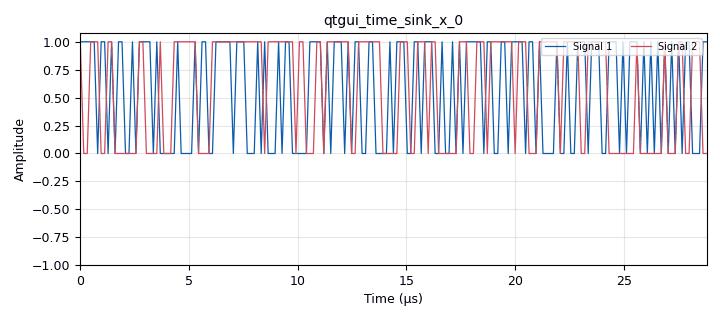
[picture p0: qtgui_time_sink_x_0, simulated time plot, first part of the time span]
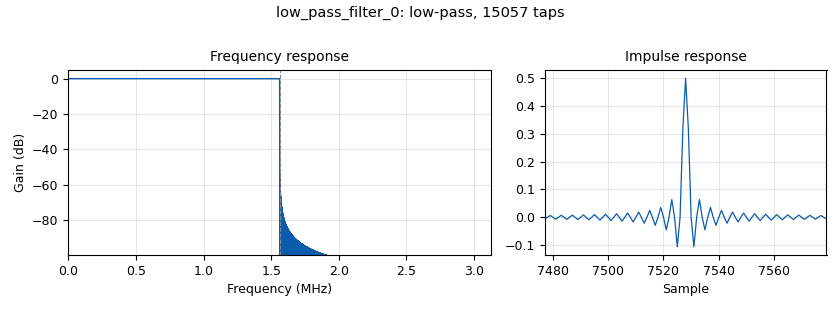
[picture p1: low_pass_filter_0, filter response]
options:
  parameters:
    author: G6_H1
    copyright: UIS
    generate_options: qt_gui
    id: BER
    output_language: python
    title: BER
  states: {}

blocks:
- name: Ac
  id: variable_qtgui_range
  parameters:
    label: Ampliud portadora
    start: '0'
    step: '0.1'
    stop: '2'
    value: '0.1'
  states: {}
- name: B
  id: variable_qtgui_range
  parameters:
    label: N0. muestras por simbolo (SPS)
    rangeType: int
    start: '1'
    step: '1'
    stop: '12'
    value: '10'
  states: {}
- name: DC
  id: variable_qtgui_range
  parameters:
    label: Nivel de señal modulante
    start: '-8'
    step: '0.1'
    stop: '8'
    value: '-1'
  states: {}
- name: 'No'
  id: variable_qtgui_range
  parameters:
    label: Amplitud ruido
    start: '0'
    step: '0.0001'
    stop: '0.8'
    value: '0.501'
  states: {}
- name: n
  id: variable_qtgui_range
  parameters:
    label: No. bit por simbolo
    start: '1'
    step: '1'
    stop: '4'
    value: '1'
  states: {}
- name: samp_rate
  id: variable
  parameters:
    value: 12.5e6/2
  states: {}
- name: analog_noise_source_x_0
  id: analog_noise_source_x
  parameters:
    amp: 'No'
    noise_type: analog.GR_GAUSSIAN
    seed: '0'
    type: float
  states: {}
- name: analog_random_source_x_0
  id: analog_random_source_x
  parameters:
    max: int(math.pow(2,n))
    min: '0'
    num_samps: '10000000'
    repeat: 'False'
    type: byte
  states: {}
- name: blocks_add_const_vxx_0
  id: blocks_add_const_vxx
  parameters:
    const: DC
    type: float
  states: {}
- name: blocks_add_xx_0
  id: blocks_add_xx
  parameters:
    type: float
  states: {}
- name: blocks_char_to_float_0
  id: blocks_char_to_float
  parameters:
    scale: '1'
  states: {}
- name: blocks_char_to_float_1
  id: blocks_char_to_float
  parameters:
    scale: '1'
  states: {}
- name: blocks_char_to_float_2
  id: blocks_char_to_float
  parameters:
    scale: '0.5'
  states: {}
- name: blocks_pack_k_bits_bb_0
  id: blocks_pack_k_bits_bb
  parameters:
    k: B
  states: {}
- name: blocks_pack_k_bits_bb_1
  id: blocks_pack_k_bits_bb
  parameters:
    k: B
  states: {}
- name: digital_binary_slicer_fb_0
  id: digital_binary_slicer_fb
  parameters: {}
  states: {}
- name: fec_ber_bf_0
  id: fec_ber_bf
  parameters:
    test_mode: 'False'
  states: {}
- name: import_0
  id: import
  parameters:
    imports: import math
  states: {}
- name: low_pass_filter_0
  id: low_pass_filter
  parameters:
    cutoff_freq: (samp_rate)/4
    decim: '1'
    gain: '1'
    samp_rate: samp_rate
    type: fir_filter_fff
    width: '1000'
    win: window.WIN_HAMMING
  states: {}
- name: qtgui_number_sink_0
  id: qtgui_number_sink
  parameters:
    autoscale: 'True'
    graph_type: qtgui.NUM_GRAPH_HORIZ
    type: float
  states: {}
- name: qtgui_time_sink_x_0
  id: qtgui_time_sink_x
  parameters:
    grid: 'True'
    nconnections: '2'
    size: 1024*8
    srate: samp_rate
    type: float
  states: {}
- name: virtual_sink_0
  id: virtual_sink
  parameters:
    stream_id: m_t
  states: {}
- name: virtual_source_0
  id: virtual_source
  parameters:
    stream_id: m_t
  states: {}

connections:
- [analog_noise_source_x_0, '0', blocks_add_xx_0, '1']
- [analog_random_source_x_0, '0', blocks_char_to_float_0, '0']
- [analog_random_source_x_0, '0', blocks_char_to_float_2, '0']
- [analog_random_source_x_0, '0', blocks_pack_k_bits_bb_0, '0']
- [blocks_add_const_vxx_0, '0', virtual_sink_0, '0']
- [blocks_add_xx_0, '0', low_pass_filter_0, '0']
- [blocks_char_to_float_0, '0', qtgui_time_sink_x_0, '0']
- [blocks_char_to_float_1, '0', qtgui_time_sink_x_0, '1']
- [blocks_char_to_float_2, '0', blocks_add_const_vxx_0, '0']
- [blocks_pack_k_bits_bb_0, '0', fec_ber_bf_0, '0']
- [blocks_pack_k_bits_bb_1, '0', fec_ber_bf_0, '1']
- [digital_binary_slicer_fb_0, '0', blocks_char_to_float_1, '0']
- [digital_binary_slicer_fb_0, '0', blocks_pack_k_bits_bb_1, '0']
- [fec_ber_bf_0, '0', qtgui_number_sink_0, '0']
- [low_pass_filter_0, '0', digital_binary_slicer_fb_0, '0']
- [virtual_source_0, '0', blocks_add_xx_0, '0']

metadata:
  file_format: 1
  grc_version: 3.9.8.0
